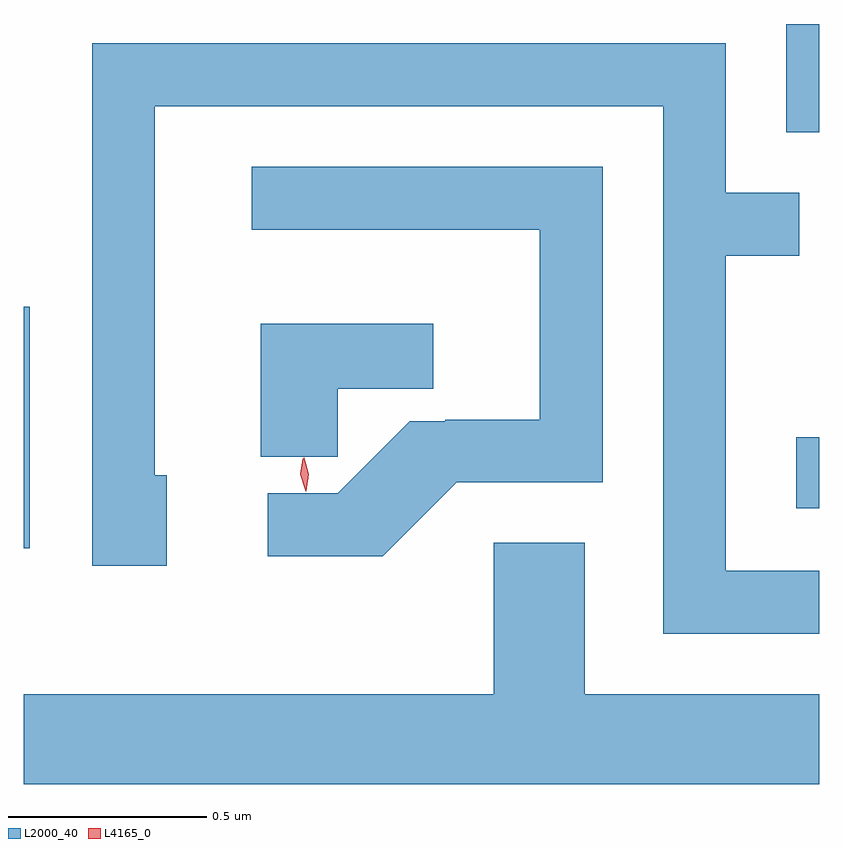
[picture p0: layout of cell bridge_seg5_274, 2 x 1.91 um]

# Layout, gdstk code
import gdstk
lib = gdstk.Library(unit=1e-6, precision=1e-09)
def R(c, l, rs):  # rectangles x0, y0, x1, y1
    for r in rs: c.add(gdstk.rectangle(r[:2], r[2:], *l))
def P(c, l, *ps):  # polygons
    for p in ps: c.add(gdstk.Polygon(p, *l))
L2000_40 = (2000, 40)
L4165_0 = (4165, 0)

bridge_seg5_274 = lib.new_cell('bridge_seg5_274')
R(bridge_seg5_274, L2000_40, [(885.579,1495.171,885.594,1495.778), (887.521,1495.271,887.579,1495.449), (887.496,1496.216,887.579,1496.488)])
P(bridge_seg5_274, L2000_40, [(887.579,1495.114),(887.344,1495.114),(887.344,1495.906),(887.528,1495.906),(887.528,1496.064),(887.344,1496.064),(887.344,1496.439),(885.751,1496.439),(885.751,1495.126),(885.939,1495.126),(885.939,1495.354),(885.909,1495.354),(885.909,1496.281),(887.186,1496.281),(887.186,1494.956),(887.579,1494.956)],
  [(886.667,1495.336),(887.034,1495.336),(887.034,1496.129),(886.153,1496.129),(886.153,1495.971),(886.876,1495.971),(886.876,1495.494),(886.78,1495.494),(886.78,1495.493),(886.639,1495.493),(886.639,1495.49),(886.55,1495.49),(886.369,1495.309),(886.193,1495.309),(886.193,1495.151),(886.482,1495.151)],
  [(886.369,1495.571),(886.609,1495.571),(886.609,1495.735),(886.175,1495.735),(886.175,1495.401),(886.369,1495.401)],
  [(887.579,1494.804),(886.989,1494.804),(886.989,1495.184),(886.761,1495.184),(886.761,1494.804),(885.579,1494.804),(885.579,1494.578),(887.579,1494.578)])
P(bridge_seg5_274, L4165_0, [(886.287,1495.316),(886.287,1495.317),(886.274,1495.356),(886.281,1495.396),(886.282,1495.396),(886.282,1495.396),(886.294,1495.357),(886.288,1495.317)],
  [(886.288,1495.314),(886.276,1495.356),(886.283,1495.398),(886.284,1495.398),(886.284,1495.398),(886.296,1495.357),(886.289,1495.314),(886.289,1495.314)])

lib.write_gds('bridge_seg5_274.gds')
